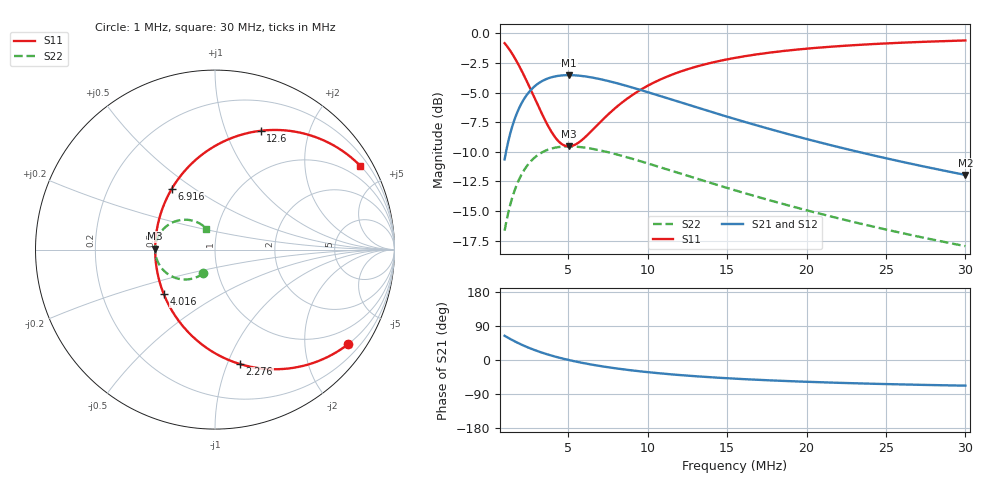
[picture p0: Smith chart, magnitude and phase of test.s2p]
#  Hz  S  RI  R  50
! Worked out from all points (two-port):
!   501 points, 1 MHz to 30 MHz, reference 50 ohm
!   highest |S21| = -3.52 dB at 5.06 MHz (marker M1); lowest = -12.0 dB at 30 MHz (marker M2)
!   |S21| within 3 dB of the highest: 1.843 MHz to 13.75 MHz (11.91 MHz wide, 153 % of centre)
!   lowest |S11| = -9.5 dB at 5.06 MHz (marker M3), VSWR 2.00, Z = 25 + j0.339 ohm
!   |S11| at or under -10 dB: nowhere
!   |S22| runs from -18.0 to -9.5 dB; largest |S21 - S12| = 0
!   S11 on the Smith chart (normalised r, x): 1 MHz: 0.50, -3.06; 2.276 MHz: 0.50, -1.11; 4.016 MHz: 0.50, -0.29; 6.916 MHz: 0.50, +0.41; 12.6 MHz: 0.50, +1.33; 30 MHz: 0.50, +3.66
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1000000  0.7413 -0.5272  0.1293 0.2636  0.1293 0.2636  -0.0647 -0.1318
1348000  0.5747 -0.6214  0.2126 0.3107  0.2126 0.3107  -0.1063 -0.1554
1638000  0.4306 -0.6595  0.2847 0.3298  0.2847 0.3298  -0.1423 -0.1649
1928000  0.2915 -0.6654  0.3542 0.3327  0.3542 0.3327  -0.1771 -0.1663
2276000  0.1398 -0.638  0.4301 0.319  0.4301 0.319  -0.215 -0.1595
2682000  -0.00936 -0.5718  0.5047 0.2859  0.5047 0.2859  -0.2523 -0.143
3088000  -0.1265 -0.4827  0.5632 0.2414  0.5632 0.2414  -0.2816 -0.1207
3552000  -0.2233 -0.3668  0.6117 0.1834  0.6117 0.1834  -0.3058 -0.0917
4016000  -0.2859 -0.2468  0.643 0.1234  0.643 0.1234  -0.3215 -0.0617
4538000  -0.3232 -0.1157  0.6616 0.0579  0.6616 0.0579  -0.3308 -0.0289
5060000  -0.3333 0.00603  0.6667 -0.00302  0.6667 -0.00302  -0.3333 0.00151
5872000  -0.311 0.1711  0.6555 -0.0856  0.6555 -0.0856  -0.3277 0.0428
6916000  -0.2411 0.3383  0.6206 -0.1691  0.6206 -0.1691  -0.3103 0.0846
7786000  -0.1653 0.4425  0.5827 -0.2213  0.5827 -0.2213  -0.2913 0.1106
8656000  -0.0837 0.5202  0.5418 -0.2601  0.5418 -0.2601  -0.2709 0.13
1.0686e7  0.1023 0.6254  0.4488 -0.3127  0.4488 -0.3127  -0.2244 0.1563
1.26e7  0.2539 0.6619  0.3731 -0.331  0.3731 -0.331  -0.1865 0.1655
1.55e7  0.4325 0.6593  0.2838 -0.3296  0.2838 -0.3296  -0.1419 0.1648
1.782e7  0.5382 0.6344  0.2309 -0.3172  0.2309 -0.3172  -0.1154 0.1586
2.0372e7  0.6263 0.5988  0.1868 -0.2994  0.1868 -0.2994  -0.0934 0.1497
2.5186e7  0.7387 0.5292  0.1306 -0.2646  0.1306 -0.2646  -0.0653 0.1323
3e7  0.8086 0.4675  0.0957 -0.2338  0.0957 -0.2338  -0.0479 0.1169
